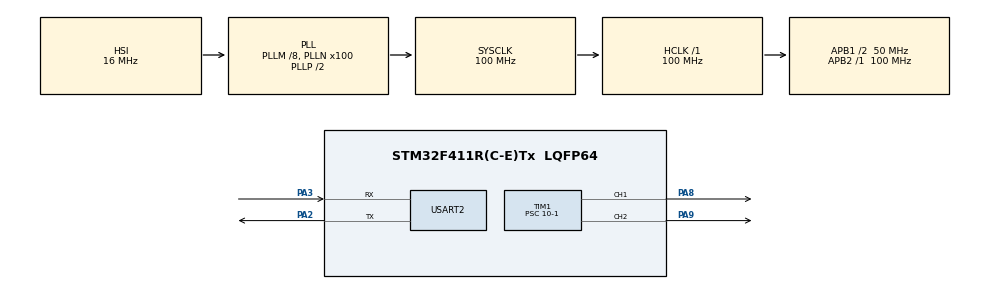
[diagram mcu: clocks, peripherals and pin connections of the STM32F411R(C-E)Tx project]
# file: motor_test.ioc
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Mcu.Family=STM32F4
Mcu.Name=STM32F411R(C-E)Tx
Mcu.Package=LQFP64
NVIC.PriorityGroup=NVIC_PRIORITYGROUP_4
PA2.Mode=Asynchronous
PA2.Signal=USART2_TX
PA3.Mode=Asynchronous
PA3.Signal=USART2_RX
PA8.Signal=S_TIM1_CH1
PA9.Signal=S_TIM1_CH2
ProjectManager.HeapSize=0x200
ProjectManager.StackSize=0x400
ProjectManager.TargetToolchain=STM32CubeIDE
RCC.48MHZClocksFreq_Value=50000000
RCC.AHBFreq_Value=100000000
RCC.APB1CLKDivider=RCC_HCLK_DIV2
RCC.APB1Freq_Value=50000000
RCC.APB1TimFreq_Value=100000000
RCC.APB2Freq_Value=100000000
RCC.APB2TimFreq_Value=100000000
RCC.CortexFreq_Value=100000000
RCC.HCLKFreq_Value=100000000
RCC.HSE_VALUE=25000000
RCC.HSI_VALUE=16000000
RCC.LSE_VALUE=32768
RCC.PLLM=8
RCC.PLLN=100
RCC.SYSCLKFreq_VALUE=100000000
RCC.SYSCLKSource=RCC_SYSCLKSOURCE_PLLCLK
RCC.VCOOutputFreq_Value=200000000
SH.S_TIM1_CH1.0=TIM1_CH1,PWM Generation1 CH1
SH.S_TIM1_CH2.0=TIM1_CH2,PWM Generation2 CH2
TIM1.Channel-PWM\ Generation1\ CH1=TIM_CHANNEL_1
TIM1.Channel-PWM\ Generation2\ CH2=TIM_CHANNEL_2
TIM1.Period=1000-1
TIM1.Prescaler=10-1
TIM1.Pulse-PWM\ Generation1\ CH1=500
USART2.VirtualMode=VM_ASYNC
board=custom

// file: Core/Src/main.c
/* USER CODE BEGIN Header */
/**
  ******************************************************************************
  * @file           : main.c
  * @brief          : Main program body
  ******************************************************************************
  * @attention
  *
  * Copyright (c) 2022 STMicroelectronics.
  * All rights reserved.
  *
  * This software is licensed under terms that can be found in the LICENSE file
  * in the root directory of this software component.
  * If no LICENSE file comes with this software, it is provided AS-IS.
  *
  ******************************************************************************
  */
/* USER CODE END Header */
#include "main.h"

/* USER CODE BEGIN Includes */
#include "motor.h"
#include <stdio.h>
/* USER CODE END Includes */

/* USER CODE BEGIN PD */
#define LEFT_MOTOR_CHANNEL_A TIM_CHANNEL_1
#define LEFT_MOTOR_CHANNEL_B TIM_CHANNEL_2
/* USER CODE END PD */

TIM_HandleTypeDef htim1;

UART_HandleTypeDef huart2;

/* USER CODE BEGIN PV */
Motor left_motor;
/* USER CODE END PV */

void SystemClock_Config(void);
static void MX_GPIO_Init(void);
static void MX_TIM1_Init(void);
static void MX_USART2_UART_Init(void);

/* USER CODE BEGIN 0 */
int __io_putchar(int ch)
{
  if (ch == '\n') {
    __io_putchar('\r');
  }

  HAL_UART_Transmit(&huart2, (uint8_t*)&ch, 1, HAL_MAX_DELAY);

  return 1;
}
/* USER CODE END 0 */

int main(void)
{

  /* MCU Configuration--------------------------------------------------------*/

  /* Reset of all peripherals, Initializes the Flash interface and the Systick. */
  HAL_Init();

  /* Configure the system clock */
  SystemClock_Config();

  /* Initialize all configured peripherals */
  MX_GPIO_Init();
  MX_TIM1_Init();
  MX_USART2_UART_Init();
  /* USER CODE BEGIN 2 */
  HAL_StatusTypeDef status = motor_init(&left_motor, &htim1, LEFT_MOTOR_CHANNEL_A, LEFT_MOTOR_CHANNEL_B);
  printf("Status: %d\n", status);
  int8_t value = 0;
  int8_t dir = 1;

  /* USER CODE END 2 */

  /* Infinite loop */
  /* USER CODE BEGIN WHILE */
  while (1)
  {
	  //printf("Waiting....\n");
	  //HAL_UART_Receive(&huart2, &value, 1, HAL_MAX_DELAY);
	  //printf("Read")
	  if (value >= 100 || value <= -100) dir = -dir;
	  if (value == 0){
		  motor_brake(&left_motor);
	  } else {
		  printf("%ld\n", motor_run(&left_motor, value));
	  };
	  value += 10*dir;
	  HAL_Delay(200);
    /* USER CODE END WHILE */

  }
}

void SystemClock_Config(void)
{
  RCC_OscInitTypeDef RCC_OscInitStruct = {0};
  RCC_ClkInitTypeDef RCC_ClkInitStruct = {0};

  /** Configure the main internal regulator output voltage
  */
  __HAL_RCC_PWR_CLK_ENABLE();
  __HAL_PWR_VOLTAGESCALING_CONFIG(PWR_REGULATOR_VOLTAGE_SCALE1);
  /** Initializes the RCC Oscillators according to the specified parameters
  * in the RCC_OscInitTypeDef structure.
  */
  RCC_OscInitStruct.OscillatorType = RCC_OSCILLATORTYPE_HSI;
  RCC_OscInitStruct.HSIState = RCC_HSI_ON;
  RCC_OscInitStruct.HSICalibrationValue = RCC_HSICALIBRATION_DEFAULT;
  RCC_OscInitStruct.PLL.PLLState = RCC_PLL_ON;
  RCC_OscInitStruct.PLL.PLLSource = RCC_PLLSOURCE_HSI;
  RCC_OscInitStruct.PLL.PLLM = 8;
  RCC_OscInitStruct.PLL.PLLN = 100;
  RCC_OscInitStruct.PLL.PLLP = RCC_PLLP_DIV2;
  RCC_OscInitStruct.PLL.PLLQ = 4;
  if (HAL_RCC_OscConfig(&RCC_OscInitStruct) != HAL_OK)
  {
    Error_Handler();
  }
  /** Initializes the CPU, AHB and APB buses clocks
  */
  RCC_ClkInitStruct.ClockType = RCC_CLOCKTYPE_HCLK|RCC_CLOCKTYPE_SYSCLK
                              |RCC_CLOCKTYPE_PCLK1|RCC_CLOCKTYPE_PCLK2;
  RCC_ClkInitStruct.SYSCLKSource = RCC_SYSCLKSOURCE_PLLCLK;
  RCC_ClkInitStruct.AHBCLKDivider = RCC_SYSCLK_DIV1;
  RCC_ClkInitStruct.APB1CLKDivider = RCC_HCLK_DIV2;
  RCC_ClkInitStruct.APB2CLKDivider = RCC_HCLK_DIV1;

  if (HAL_RCC_ClockConfig(&RCC_ClkInitStruct, FLASH_LATENCY_3) != HAL_OK)
  {
    Error_Handler();
  }
}

static void MX_TIM1_Init(void)
{

  TIM_MasterConfigTypeDef sMasterConfig = {0};
  TIM_OC_InitTypeDef sConfigOC = {0};
  TIM_BreakDeadTimeConfigTypeDef sBreakDeadTimeConfig = {0};

  htim1.Instance = TIM1;
  htim1.Init.Prescaler = 10-1;
  htim1.Init.CounterMode = TIM_COUNTERMODE_UP;
  htim1.Init.Period = 1000-1;
  htim1.Init.ClockDivision = TIM_CLOCKDIVISION_DIV1;
  htim1.Init.RepetitionCounter = 0;
  htim1.Init.AutoReloadPreload = TIM_AUTORELOAD_PRELOAD_DISABLE;
  if (HAL_TIM_PWM_Init(&htim1) != HAL_OK)
  {
    Error_Handler();
  }
  sMasterConfig.MasterOutputTrigger = TIM_TRGO_RESET;
  sMasterConfig.MasterSlaveMode = TIM_MASTERSLAVEMODE_DISABLE;
  if (HAL_TIMEx_MasterConfigSynchronization(&htim1, &sMasterConfig) != HAL_OK)
  {
    Error_Handler();
  }
  sConfigOC.OCMode = TIM_OCMODE_PWM1;
  sConfigOC.Pulse = 500;
  sConfigOC.OCPolarity = TIM_OCPOLARITY_HIGH;
  sConfigOC.OCNPolarity = TIM_OCNPOLARITY_HIGH;
  sConfigOC.OCFastMode = TIM_OCFAST_DISABLE;
  sConfigOC.OCIdleState = TIM_OCIDLESTATE_RESET;
  sConfigOC.OCNIdleState = TIM_OCNIDLESTATE_RESET;
  if (HAL_TIM_PWM_ConfigChannel(&htim1, &sConfigOC, TIM_CHANNEL_1) != HAL_OK)
  {
    Error_Handler();
  }
  sConfigOC.Pulse = 0;
  if (HAL_TIM_PWM_ConfigChannel(&htim1, &sConfigOC, TIM_CHANNEL_2) != HAL_OK)
  {
    Error_Handler();
  }
  sBreakDeadTimeConfig.OffStateRunMode = TIM_OSSR_DISABLE;
  sBreakDeadTimeConfig.OffStateIDLEMode = TIM_OSSI_DISABLE;
  sBreakDeadTimeConfig.LockLevel = TIM_LOCKLEVEL_OFF;
  sBreakDeadTimeConfig.DeadTime = 0;
  sBreakDeadTimeConfig.BreakState = TIM_BREAK_DISABLE;
  sBreakDeadTimeConfig.BreakPolarity = TIM_BREAKPOLARITY_HIGH;
  sBreakDeadTimeConfig.AutomaticOutput = TIM_AUTOMATICOUTPUT_DISABLE;
  if (HAL_TIMEx_ConfigBreakDeadTime(&htim1, &sBreakDeadTimeConfig) != HAL_OK)
  {
    Error_Handler();
  }
  HAL_TIM_MspPostInit(&htim1);

}

static void MX_USART2_UART_Init(void)
{

  huart2.Instance = USART2;
  huart2.Init.BaudRate = 115200;
  huart2.Init.WordLength = UART_WORDLENGTH_8B;
  huart2.Init.StopBits = UART_STOPBITS_1;
  huart2.Init.Parity = UART_PARITY_NONE;
  huart2.Init.Mode = UART_MODE_TX_RX;
  huart2.Init.HwFlowCtl = UART_HWCONTROL_NONE;
  huart2.Init.OverSampling = UART_OVERSAMPLING_16;
  if (HAL_UART_Init(&huart2) != HAL_OK)
  {
    Error_Handler();
  }

}

static void MX_GPIO_Init(void)
{

  /* GPIO Ports Clock Enable */
  __HAL_RCC_GPIOA_CLK_ENABLE();

}

void Error_Handler(void)
{
  __disable_irq();
  while (1)
  {
  }
}
